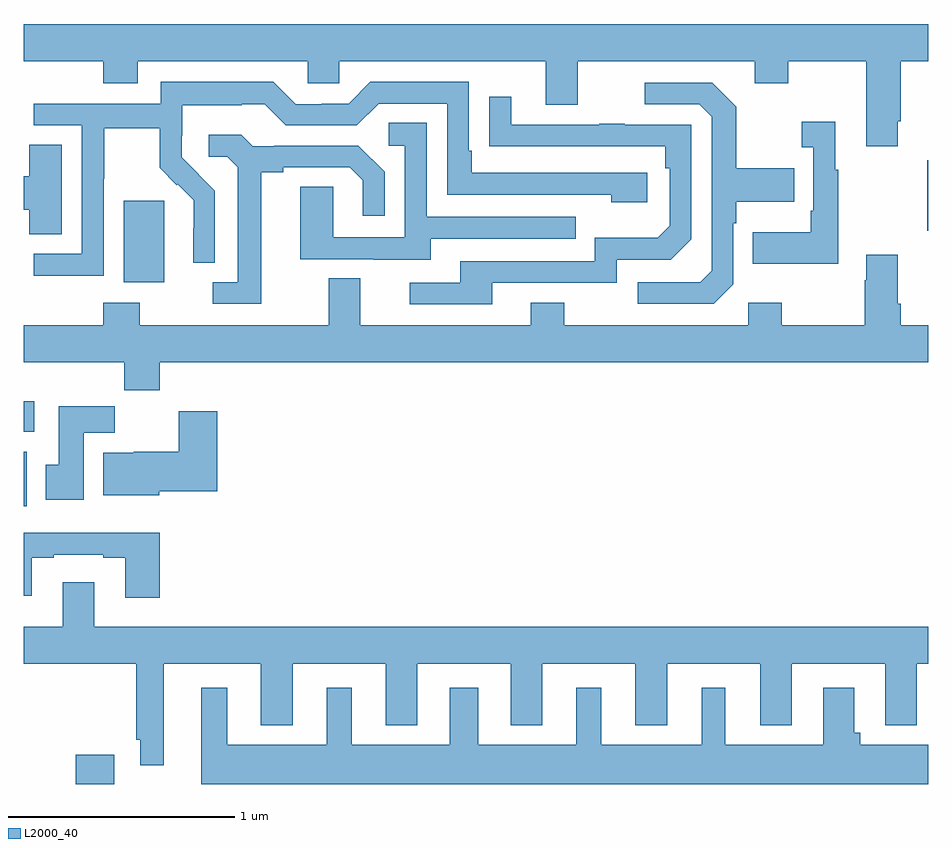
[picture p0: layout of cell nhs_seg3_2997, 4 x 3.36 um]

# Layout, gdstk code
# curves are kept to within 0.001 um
import gdstk
lib = gdstk.Library(unit=1e-6, precision=1e-09)
def R(c, l, rs):  # rectangles x0, y0, x1, y1
    for r in rs: c.add(gdstk.rectangle(r[:2], r[2:], *l))
def P(c, l, *ps):  # polygons
    for p in ps: c.add(gdstk.Polygon(p, *l))
L2000_40 = (2000, 40)

nhs_seg3_2997 = lib.new_cell('nhs_seg3_2997')
R(nhs_seg3_2997, L2000_40, [(267.23,684.4,267.4,684.529), (267,685.628,267.013,685.87), (267,685.958,267.046,686.092), (267.443,686.618,267.622,686.979), (270.994,686.847,271,687.158)])
P(nhs_seg3_2997, L2000_40, [(270.865,687.331),(270.878,687.331),(270.878,687.596),(271,687.596),(271,687.76),(267,687.76),(267,687.596),(267.353,687.596),(267.353,687.497),(267.505,687.497),(267.505,687.596),(268.257,687.596),(268.257,687.498),(268.395,687.498),(268.395,687.596),(269.309,687.596),(269.309,687.402),(269.449,687.402),(269.449,687.596),(270.233,687.596),(270.233,687.497),(270.381,687.497),(270.381,687.596),(270.725,687.596),(270.725,687.219),(270.865,687.219)],
  [(267.354,687.076),(267.357,687.076),(267.357,687.3),(267.601,687.3),(267.601,687.125),(267.678,687.048),(267.681,687.051),(267.752,686.981),(267.752,686.858),(267.75,686.858),(267.75,686.704),(267.846,686.704),(267.846,687.022),(267.7,687.17),(267.7,687.267),(267.702,687.267),(267.702,687.401),(267.965,687.401),(267.965,687.405),(268.065,687.405),(268.158,687.312),(268.473,687.312),(268.569,687.408),(268.872,687.408),(268.872,687.006),(269.597,687.006),(269.597,686.972),(269.758,686.972),(269.758,687.102),(268.981,687.102),(268.981,687.199),(268.968,687.199),(268.968,687.504),(268.533,687.504),(268.437,687.408),(268.319,687.408),(268.319,687.405),(268.203,687.405),(268.103,687.505),(267.606,687.505),(267.606,687.408),(267.045,687.408),(267.045,687.312),(267.258,687.312),(267.258,686.745),(267.045,686.745),(267.045,686.647),(267.354,686.647)],
  [(270.138,686.61),(270.138,686.879),(270.151,686.879),(270.151,686.975),(270.407,686.975),(270.407,687.123),(270.151,687.123),(270.151,687.395),(270.045,687.501),(269.745,687.501),(269.745,687.405),(269.988,687.405),(270.042,687.351),(270.042,686.67),(269.991,686.619),(269.715,686.619),(269.715,686.523),(270.051,686.523)],
  [(269.071,686.616),(269.622,686.616),(269.622,686.718),(269.862,686.718),(269.952,686.808),(269.952,687.315),(269.657,687.315),(269.657,687.32),(269.545,687.32),(269.545,687.315),(269.155,687.315),(269.155,687.439),(269.059,687.439),(269.059,687.22),(269.836,687.219),(269.836,687.122),(269.856,687.122),(269.856,686.868),(269.803,686.815),(269.526,686.815),(269.526,686.712),(268.931,686.712),(268.931,686.616),(268.707,686.616),(268.707,686.52),(269.071,686.52)],
  [(270.601,687.115),(270.589,687.115),(270.589,687.328),(270.441,687.328),(270.441,687.215),(270.492,687.215),(270.492,686.935),(270.48,686.935),(270.48,686.839),(270.223,686.839),(270.223,686.699),(270.601,686.699)],
  [(268.801,686.811),(269.441,686.811),(269.441,686.907),(268.782,686.907),(268.782,687.323),(268.614,687.323),(268.614,687.222),(268.686,687.222),(268.686,686.817),(268.368,686.817),(268.368,687.041),(268.223,687.041),(268.223,686.721),(268.547,686.721),(268.547,686.717),(268.801,686.717)],
  [(268.051,687.104),(268.147,687.104),(268.147,687.126),(268.442,687.126),(268.499,687.069),(268.499,686.913),(268.596,686.913),(268.596,687.106),(268.48,687.222),(268.108,687.222),(268.108,687.219),(268.014,687.219),(267.962,687.271),(267.819,687.271),(267.819,687.174),(267.9,687.174),(267.947,687.127),(267.947,686.619),(267.837,686.619),(267.837,686.523),(268.051,686.523)],
  [(267.169,687.227),(267.026,687.227),(267.026,687.086),(267,687.086),(267,686.939),(267.026,686.939),(267.026,686.83),(267.169,686.83)],
  [(267.602,686.264),(271,686.264),(271,686.428),(270.878,686.428),(270.878,686.524),(270.865,686.524),(270.865,686.74),(270.725,686.74),(270.725,686.627),(270.718,686.627),(270.718,686.428),(270.351,686.428),(270.351,686.527),(270.204,686.527),(270.204,686.428),(269.391,686.428),(269.391,686.527),(269.243,686.527),(269.243,686.428),(268.489,686.428),(268.489,686.636),(268.349,686.636),(268.349,686.428),(267.513,686.428),(267.513,686.527),(267.353,686.527),(267.353,686.428),(267,686.428),(267,686.264),(267.445,686.264),(267.445,686.14),(267.602,686.14)],
  [(267.265,685.952),(267.404,685.952),(267.404,686.071),(267.155,686.071),(267.155,685.812),(267.098,685.812),(267.098,685.656),(267.265,685.656)],
  [(267.6,685.694),(267.857,685.694),(267.857,686.047),(267.686,686.047),(267.686,685.87),(267.486,685.87),(267.486,685.864),(267.353,685.864),(267.353,685.676),(267.6,685.676)],
  [(267.602,685.51),(267,685.51),(267,685.232),(267.037,685.232),(267.037,685.401),(267.133,685.401),(267.133,685.413),(267.353,685.413),(267.353,685.401),(267.449,685.401),(267.449,685.224),(267.602,685.224)],
  [(267.313,685.291),(267.173,685.291),(267.173,685.096),(267,685.096),(267,684.932),(267.498,684.932),(267.498,684.595),(267.515,684.595),(267.515,684.483),(267.619,684.483),(267.619,684.932),(268.049,684.932),(268.049,684.659),(268.189,684.659),(268.189,684.932),(268.601,684.932),(268.601,684.659),(268.741,684.659),(268.741,684.932),(269.153,684.932),(269.153,684.659),(269.293,684.659),(269.293,684.932),(269.705,684.932),(269.705,684.659),(269.845,684.659),(269.845,684.932),(270.257,684.932),(270.257,684.659),(270.397,684.659),(270.397,684.932),(270.809,684.932),(270.809,684.659),(270.949,684.659),(270.949,684.932),(271,684.932),(271,685.096),(267.313,685.096)],
  [(271,684.574),(270.699,684.574),(270.699,684.627),(270.673,684.627),(270.673,684.826),(270.536,684.826),(270.536,684.574),(270.103,684.574),(270.103,684.826),(269.999,684.826),(269.999,684.574),(269.554,684.574),(269.554,684.826),(269.444,684.826),(269.444,684.574),(269.011,684.574),(269.011,684.826),(268.883,684.826),(268.883,684.574),(268.45,684.574),(268.45,684.826),(268.34,684.826),(268.34,684.574),(267.901,684.574),(267.901,684.826),(267.785,684.826),(267.785,684.4),(271,684.4)])

lib.write_gds('nhs_seg3_2997.gds')
